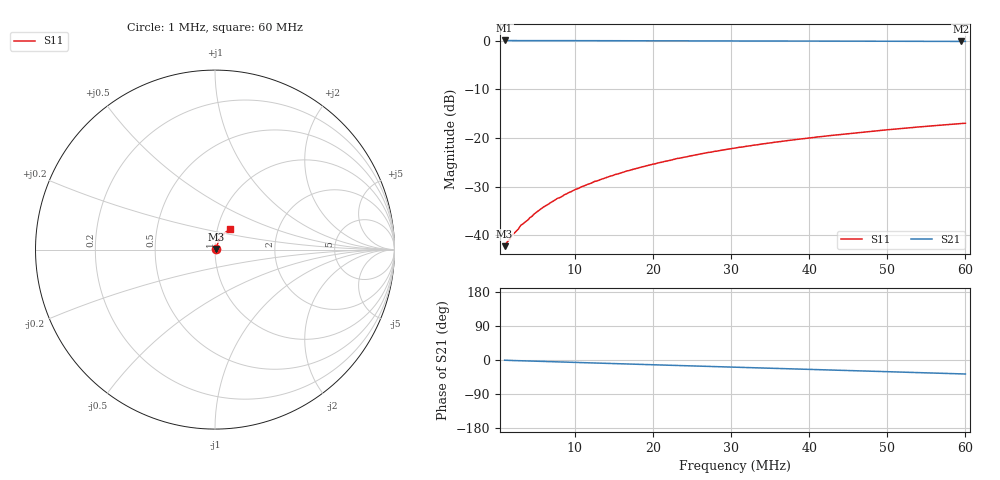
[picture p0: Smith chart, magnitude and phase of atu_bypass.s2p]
! S11/S21 from S-A-A-2 VNA
! Written 2026-11-14 07:38:15 by the saav2 MCP server
! S12 and S22 were not measured (1.5-port VNA) and are written as 0
# HZ S RI R 50
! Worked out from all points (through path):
!   201 points, 1 MHz to 60 MHz, reference 50 ohm
!   highest |S21| = 0.02 dB at 1 MHz (marker M1); lowest = -0.2 dB at 59.41 MHz (marker M2)
!   group delay of S21, straight-line fit = 1.7 ns
!   lowest |S11| = -42.2 dB at 1 MHz (marker M3), VSWR 1.02, Z = 50.7 + j0.347 ohm
!   |S11| at or under -10 dB: start of sweep to end of sweep
!   S12 and S22 are empty: the file has one direction only
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1000000  0.00692 0.00342  1.002 -0.00938  0 0  0 0
1295000  0.00731 0.00423  1.001 -0.0147  0 0  0 0
1590000  0.0074 0.00509  1.001 -0.0183  0 0  0 0
1885000  0.00774 0.00608  0.9993 -0.0217  0 0  0 0
2770000  0.00814 0.00826  0.9982 -0.0309  0 0  0 0
3065000  0.00844 0.00941  0.9984 -0.0337  0 0  0 0
3950000  0.00869 0.0113  0.9973 -0.0438  0 0  0 0
4245000  0.00903 0.0122  0.9975 -0.0467  0 0  0 0
4835000  0.00937 0.0138  0.9971 -0.0533  0 0  0 0
6015000  0.01 0.0168  0.9958 -0.0661  0 0  0 0
7785000  0.0111 0.0212  0.9943 -0.0856  0 0  0 0
1.103e7  0.0134 0.0289  0.9897 -0.1211  0 0  0 0
1.2505e7  0.0146 0.0325  0.987 -0.137  0 0  0 0
1.6635e7  0.0185 0.0419  0.9788 -0.1804  0 0  0 0
2.0765e7  0.0225 0.0508  0.968 -0.2236  0 0  0 0
2.519e7  0.0279 0.0602  0.9551 -0.2689  0 0  0 0
3.05e7  0.0348 0.0705  0.937 -0.3221  0 0  0 0
3.5515e7  0.0418 0.0797  0.9167 -0.3715  0 0  0 0
4.053e7  0.0496 0.0879  0.8944 -0.4187  0 0  0 0
5.0265e7  0.0663 0.1019  0.8432 -0.5064  0 0  0 0
5.941e7  0.084 0.1123  0.7867 -0.584  0 0  0 0
6e7  0.085 0.1129  0.7829 -0.5892  0 0  0 0
